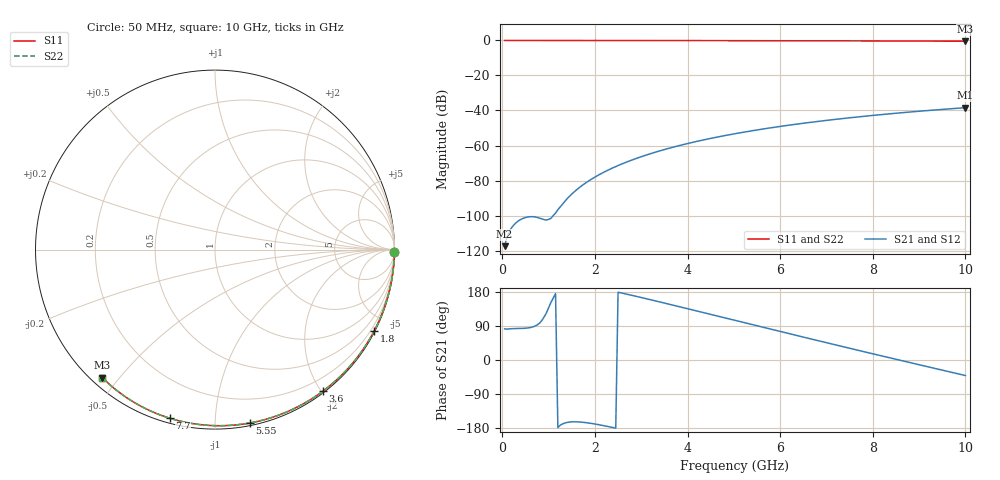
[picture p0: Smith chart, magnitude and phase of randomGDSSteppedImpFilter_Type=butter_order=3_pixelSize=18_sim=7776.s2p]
! freq	dB(S11)	phase(S11)	dB(S12)	phase(S12)
!  dB(S21)	phase(S21)	dB(S22)	phase(S22)
!S-par simulation data
#  GHz  S  DB  R 50
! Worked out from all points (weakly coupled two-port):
!   200 points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, 50 MHz to 10 GHz, reference 50 ohm
!   highest |S21| = -38.40 dB at 10 GHz (marker M1); lowest = -117.5 dB at 50 MHz (marker M2)
!   lowest |S11| = -0.4 dB at 10 GHz (marker M3), VSWR 39.13, Z = 1.54 - j22.6 ohm
!   |S11| at or under -10 dB: nowhere
!   |S22| runs from -0.4 to 0.0 dB; largest |S21 - S12| = 0
!   S11 on the Smith chart (normalised r, x): 50 MHz: open; 1.8 GHz: 0.04, -4.18; 3.6 GHz: 0.02, -2.02; 5.55 GHz: 0.02, -1.22; 7.7 GHz: 0.02, -0.77; 10 GHz: 0.03, -0.45
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0.05  -0.00 -0.8  -117.50 82.1  -117.50 82.1  -0.00 -0.8
0.9  -0.02 -13.6  -102.31 113.0  -102.31 113.0  -0.02 -13.6
1.75  -0.03 -26.2  -82.32 -164.5  -82.32 -164.5  -0.03 -26.2
1.8  -0.03 -26.9  -81.39 -165.2  -81.39 -165.2  -0.03 -26.9
1.85  -0.04 -27.7  -80.50 -166.0  -80.50 -166.0  -0.04 -27.7
1.9  -0.04 -28.4  -79.65 -166.9  -79.65 -166.9  -0.04 -28.4
2.05  -0.04 -30.6  -77.28 -170.0  -77.28 -170.0  -0.04 -30.6
2.25  -0.04 -33.5  -74.49 -174.7  -74.49 -174.7  -0.04 -33.5
2.45  -0.05 -36.4  -72.02 -179.8  -72.02 -179.8  -0.05 -36.4
2.65  -0.05 -39.2  -69.80 174.8  -69.80 174.8  -0.05 -39.2
3  -0.06 -44.2  -66.40 164.9  -66.40 164.9  -0.06 -44.2
3.4  -0.07 -49.9  -63.07 153.3  -63.07 153.3  -0.07 -49.9
3.6  -0.07 -52.6  -61.58 147.3  -61.58 147.3  -0.07 -52.6
4.3  -0.09 -62.2  -57.07 126.4  -57.07 126.4  -0.09 -62.2
5.05  -0.11 -72.2  -53.14 103.8  -53.14 103.8  -0.11 -72.2
5.55  -0.13 -78.6  -50.90 88.8  -50.90 88.8  -0.13 -78.6
6.1  -0.15 -85.6  -48.72 72.3  -48.72 72.3  -0.15 -85.6
6.7  -0.18 -93.0  -46.62 54.5  -46.62 54.5  -0.18 -93.0
7.7  -0.24 -105.0  -43.61 25.1  -43.61 25.1  -0.24 -105.0
8.35  -0.29 -112.6  -41.93 6.2  -41.93 6.2  -0.29 -112.6
9.15  -0.36 -121.8  -40.10 -16.8  -40.10 -16.8  -0.36 -121.8
10  -0.44 -131.4  -38.40 -41.0  -38.40 -41.0  -0.44 -131.4
